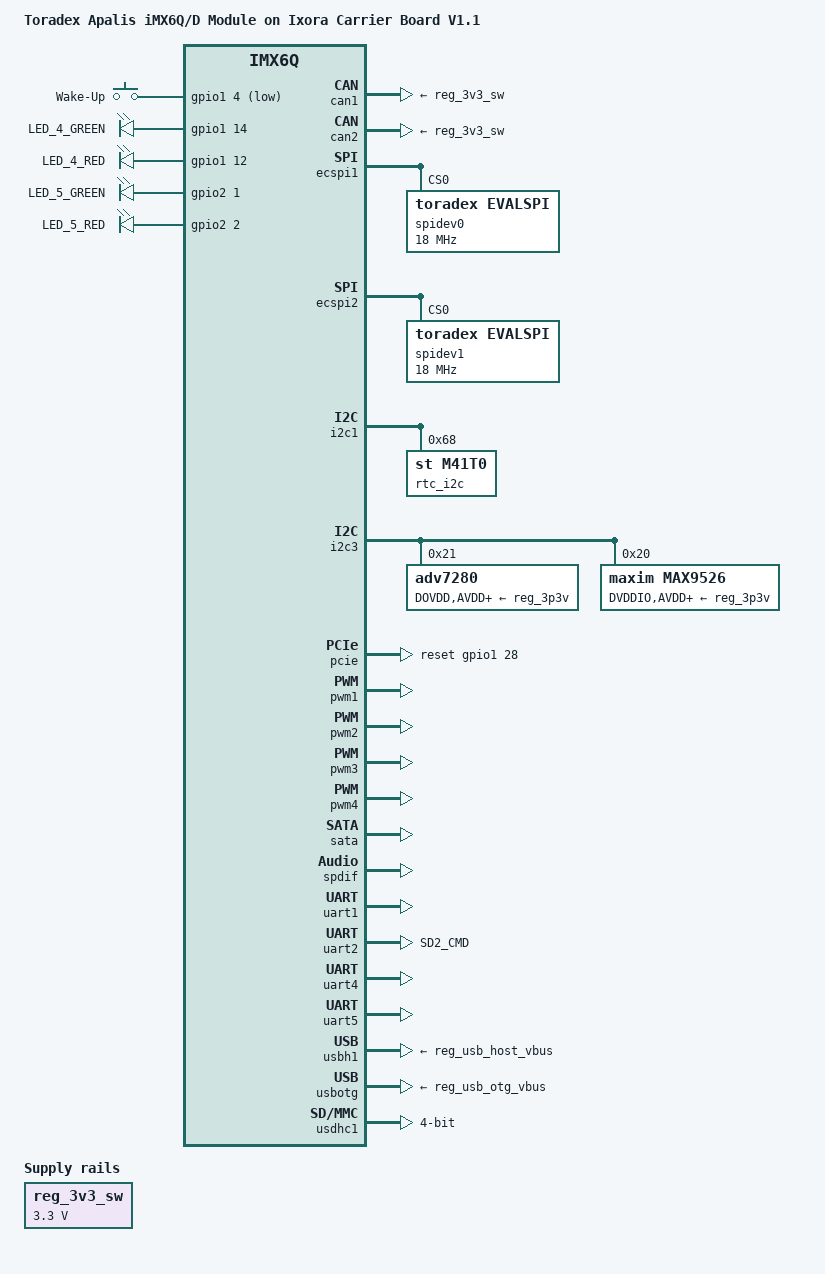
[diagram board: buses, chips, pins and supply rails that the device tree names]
// SPDX-License-Identifier: GPL-2.0 OR X11
/*
 * Copyright 2014-2020 Toradex
 * Copyright 2012 Freescale Semiconductor, Inc.
 * Copyright 2011 Linaro Ltd.
 */

/dts-v1/;

#include <dt-bindings/gpio/gpio.h>
#include <dt-bindings/input/input.h>
#include <dt-bindings/interrupt-controller/irq.h>
#include <dt-bindings/pwm/pwm.h>
#include "imx6q.dtsi"
#include "imx6qdl-apalis.dtsi"

/ {
	model = "Toradex Apalis iMX6Q/D Module on Ixora Carrier Board V1.1";
	compatible = "toradex,apalis_imx6q-ixora-v1.1",
		     "toradex,apalis_imx6q-ixora", "toradex,apalis_imx6q",
		     "fsl,imx6q";

	aliases {
		i2c0 = &i2c1;
		i2c1 = &i2c3;
		i2c2 = &i2c2;
		rtc0 = &rtc_i2c;
		rtc1 = &snvs_rtc;
	};

	chosen {
		stdout-path = "serial0:115200n8";
	};

	gpio-keys {
		compatible = "gpio-keys";
		pinctrl-names = "default";
		pinctrl-0 = <&pinctrl_gpio_keys>;

		wakeup {
			label = "Wake-Up";
			gpios = <&gpio1 4 GPIO_ACTIVE_LOW>;
			linux,code = <KEY_WAKEUP>;
			debounce-interval = <10>;
			wakeup-source;
		};
	};

	leds {
		compatible = "gpio-leds";

		pinctrl-names = "default";
		pinctrl-0 = <&pinctrl_leds_ixora>;

		led4-green {
			label = "LED_4_GREEN";
			gpios = <&gpio1 14 GPIO_ACTIVE_HIGH>;
		};

		led4-red {
			label = "LED_4_RED";
			gpios = <&gpio1 12 GPIO_ACTIVE_HIGH>;
		};

		led5-green {
			label = "LED_5_GREEN";
			gpios = <&gpio2 1 GPIO_ACTIVE_HIGH>;
		};

		led5-red {
			label = "LED_5_RED";
			gpios = <&gpio2 2 GPIO_ACTIVE_HIGH>;
		};
	};

	reg_3v3_sw: regulator-3v3-sw {
		compatible = "regulator-fixed";
		regulator-name = "3.3V_SW";
		regulator-min-microvolt = <3300000>;
		regulator-max-microvolt = <3300000>;
		regulator-always-on;
	};

	/delete-node/ v4l2_cap_1;
};

&can1 {
	xceiver-supply = <&reg_3v3_sw>;
	status = "okay";
};

&can2 {
	xceiver-supply = <&reg_3v3_sw>;
	status = "okay";
};

/* Apalis SPI1 */
&ecspi1 {
	status = "okay";

	spidev0: spidev@0 {
		compatible = "toradex,evalspi";
		reg = <0>;
		spi-max-frequency = <18000000>;
	};
};

/* Apalis SPI2 */
&ecspi2 {
	status = "okay";

	spidev1: spidev@0 {
		compatible = "toradex,evalspi";
		reg = <0>;
		spi-max-frequency = <18000000>;
	};
};

/* I2C1_SDA/SCL on MXM3 209/211 (e.g. RTC on carrier board) */
&i2c1 {
	status = "okay";

	/* M41T0M6 real time clock on carrier board */
	rtc_i2c: rtc@68 {
		compatible = "st,m41t0";
		reg = <0x68>;
	};
};

/*
 * I2C3_SDA/SCL (CAM) on MXM3 pin 201/203 (e.g. camera sensor on carrier
 * board)
 */
&i2c3 {
	status = "okay";

	adv7280: adv7280@21 {
		compatible = "adv7280";
		reg = <0x21>;
		pinctrl-names = "default";
		pinctrl-0 = <&pinctrl_ipu1_csi0 &pinctrl_cam_mclk>;
		clocks = <&clks IMX6QDL_CLK_CKO2>;
		clock-names = "csi_mclk";
		DOVDD-supply = <&reg_3p3v>;
		AVDD-supply = <&reg_3p3v>;
		DVDD-supply = <&reg_3p3v>;
		PVDD-supply = <&reg_3p3v>;
		csi_id = <0>;
		mclk = <24000000>;
		mclk_source = <1>;
		status = "okay";
	};

	/* Video ADC on Analog Camera Module */
	adv7180: adv7180@21 {
		compatible = "adv,adv7180";
		reg = <0x21>;
		pinctrl-names = "default";
		pinctrl-0 = <&pinctrl_ipu1_csi0 &pinctrl_cam_mclk>;
		clocks = <&clks IMX6QDL_CLK_CKO2>;
		clock-names = "csi_mclk";
		DOVDD-supply = <&reg_3p3v>; /* 3.3v */
		AVDD-supply = <&reg_3p3v>;  /* 1.8v */
		DVDD-supply = <&reg_3p3v>;  /* 1.8v */
		PVDD-supply = <&reg_3p3v>;  /* 1.8v */
		csi_id = <0>;
		mclk = <24000000>;
		mclk_source = <1>;
		cvbs = <1>;
		status = "disabled";
	};

	max9526: max9526@20 {
		compatible = "maxim,max9526";
		reg = <0x20>;
		pinctrl-names = "default";
		pinctrl-0 = <&pinctrl_ipu1_csi0 &pinctrl_cam_mclk>;
		clocks = <&clks IMX6QDL_CLK_CKO2>;
		clock-names = "csi_mclk";
		DVDDIO-supply = <&reg_3p3v>; /* 3.3v */
		AVDD-supply = <&reg_3p3v>;  /* 1.8v */
		DVDD-supply = <&reg_3p3v>;  /* 1.8v */
		csi_id = <0>;
		mclk = <24000000>;
		mclk_source = <1>;
		cvbs = <1>;
		status = "okay";
	};
};

&pcie {
	pinctrl-names = "default";
	pinctrl-0 = <&pinctrl_reset_moci>;
	/* active-high meaning opposite of regular PERST# active-low polarity */
	reset-gpio = <&gpio1 28 GPIO_ACTIVE_HIGH>;
	status = "okay";
};

&pwm1 {
	status = "okay";
};

&pwm2 {
	status = "okay";
};

&pwm3 {
	status = "okay";
};

&pwm4 {
	status = "okay";
};

&reg_usb_host_vbus {
	status = "okay";
};

&reg_usb_otg_vbus {
	status = "okay";
};

&sata {
	status = "okay";
};

&sound_spdif {
	status = "okay";
};

&spdif {
	status = "okay";
};

&uart1 {
	status = "okay";
};

&uart2 {
	status = "okay";
	pinctrl-names = "default";
	pinctrl-0 = <&pinctrl_uart2_dte &pinctrl_uart24_forceoff>;
#if 0
	linux,rs485-enabled-at-boot-time;
	rs485-rts-active-low;
	rs485-rx-during-tx;
#endif
};

&uart4 {
	status = "okay";
	/*
	 * note that uart4 is only working with pinctrl_uart24_forceoff that is
	 * already defined in &uart2
	 */
};

&uart5 {
	status = "okay";
};

&usbh1 {
	vbus-supply = <&reg_usb_host_vbus>;
	status = "okay";
};

&usbotg {
	vbus-supply = <&reg_usb_otg_vbus>;
	status = "okay";
};

/* MMC1 */
&usdhc1 {
	pinctrl-names = "default";
	pinctrl-0 = <&pinctrl_usdhc1_4bit &pinctrl_mmc_cd>;
	bus-width = <4>;
	status = "okay";
};

&iomuxc {
	/* Mux the Apalis GPIOs */
	pinctrl-names = "default";
	pinctrl-0 = <&pinctrl_apalis_gpio1 &pinctrl_apalis_gpio2
		     &pinctrl_apalis_gpio3 &pinctrl_apalis_gpio4
		     &pinctrl_apalis_gpio7 &pinctrl_apalis_gpio8
		    >;

	pinctrl_leds_ixora: ledsixoragrp {
		fsl,pins = <
			MX6QDL_PAD_SD2_DAT1__GPIO1_IO14 0x1b0b0
			MX6QDL_PAD_SD2_DAT3__GPIO1_IO12 0x1b0b0
			MX6QDL_PAD_NANDF_D1__GPIO2_IO01 0x1b0b0
			MX6QDL_PAD_NANDF_D2__GPIO2_IO02 0x1b0b0
		>;
	};

	pinctrl_uart24_forceoff: uart24_forceoff {
		fsl,pins = <
			MX6QDL_PAD_SD2_CMD__GPIO1_IO11 0x1b0b0
		>;
	};
};
